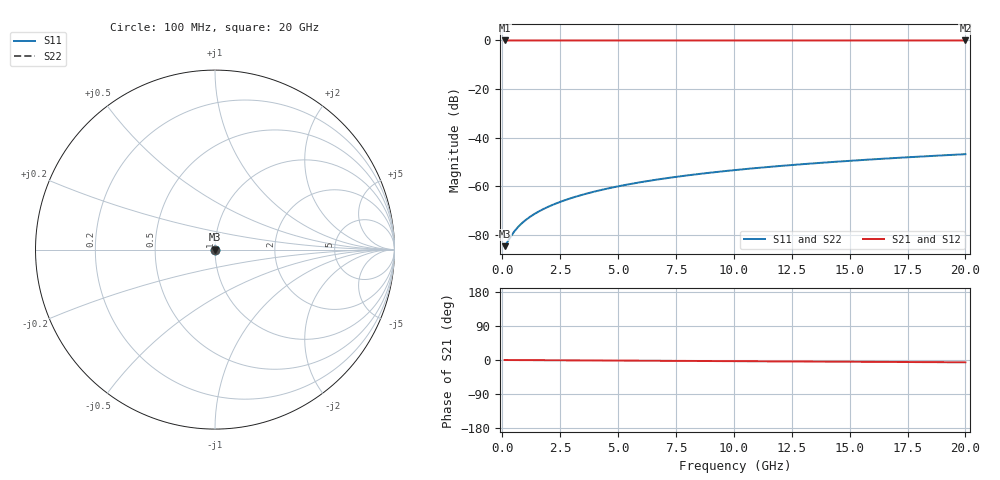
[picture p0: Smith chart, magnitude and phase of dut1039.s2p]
! Touchstone file exported from HFSS 2026.1.0
!  File:  C:/ffzhzh/LocalFiles/Ansys_Project_Files/temp_train_TSV_1039_1783189210_51560.aedt
!  Generated:  02:21:37 AM Jul  5, 2026
!  Design:  TSV
!  Project:  temp_train_TSV_1039_1783189210_51560
! Variables:
!  h_bsmrdl = 2um
!  h_ox = 20um
!  h_rdl = 5um
!  h_sub = 56.48um
!  h_tmrdl = 5um
!  h_tsv = 56.48um
!  h_via = 3um
!  l_bsmrdl = 300um
!  l_sub = 429.32um
!  l_tmrdl = 200um
!  m_sub = 200um
!  pitch = 55.35um
!  r_tsv = 14.66um
!  s_tmrdl = 10um
!  w_bsmrdl = 18um
!  w_sub = 500um
!  w_tmrdl = 12um
!  x_tsv_center1 = 206um
!  x_tsv_center2 = 524um
!  x_tsv_center3 = 736um
!  x_tsv_center4 = 1054um
!  x_tsv_center5 = 1266um
!  x_tsv_center6 = 1584um
# GHz S MA R 50.000000
! Terminal data exported
! Port[1] = TSV1_1_T1
! Port[2] = TSV1_1_T2
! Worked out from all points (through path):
!   200 points, 100 MHz to 20 GHz, reference 50 ohm
!   highest |S21| = 0.00 dB at 100 MHz (marker M1); lowest = 0.0 dB at 20 GHz (marker M2)
!   lowest |S11| = -84.6 dB at 100 MHz (marker M3), VSWR 1.00, Z = 50 + j0.000727 ohm
!   |S11| at or under -10 dB: start of sweep to end of sweep
!   |S22| runs from -84.6 to -46.8 dB; largest |S21 - S12| = 1e-15
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0.1  5.869e-05 7.1  0.9999 -0.0  0.9999 -0.0  5.869e-05 7.1
! Gamma 0 0 0 0
! Port Impedance 50 0 50 0
0.4  9.836e-05 4.6  0.9999 -0.1  0.9999 -0.1  9.836e-05 4.6
0.6  0.0001317 -6.1  0.9999 -0.2  0.9999 -0.2  0.0001317 -6.1
0.7  0.0001488 -11.6  0.9999 -0.2  0.9999 -0.2  0.0001488 -11.6
0.9  0.0001834 -21.3  0.9998 -0.3  0.9998 -0.3  0.0001834 -21.3
1.1  0.0002185 -29.3  0.9998 -0.3  0.9998 -0.3  0.0002185 -29.3
1.3  0.000254 -35.9  0.9998 -0.4  0.9998 -0.4  0.000254 -35.9
1.7  0.0003268 -45.4  0.9998 -0.5  0.9998 -0.5  0.0003268 -45.4
2.1  0.0004016 -51.9  0.9997 -0.7  0.9997 -0.7  0.0004016 -51.9
2.5  0.0004784 -56.6  0.9997 -0.8  0.9997 -0.8  0.0004784 -56.6
3  0.0005773 -60.8  0.9997 -0.9  0.9997 -0.9  0.0005773 -60.8
3.5  0.0006789 -63.8  0.9997 -1.1  0.9997 -1.1  0.0006789 -63.8
4.2  0.0008256 -67.0  0.9997 -1.3  0.9997 -1.3  0.0008256 -67.0
5  0.0009985 -69.7  0.9996 -1.5  0.9996 -1.5  0.0009985 -69.7
5.9  0.001198 -72.0  0.9996 -1.8  0.9996 -1.8  0.001198 -72.0
6.8  0.001402 -73.9  0.9996 -2.1  0.9996 -2.1  0.001402 -73.9
8.3  0.001748 -76.5  0.9995 -2.5  0.9995 -2.5  0.001748 -76.5
10.1  0.00217 -78.9  0.9995 -3.1  0.9995 -3.1  0.00217 -78.9
11.7  0.00255 -80.7  0.9994 -3.6  0.9994 -3.6  0.00255 -80.7
13.4  0.002956 -82.2  0.9994 -4.1  0.9994 -4.1  0.002956 -82.2
16.7  0.003757 -84.7  0.9993 -5.1  0.9993 -5.1  0.003757 -84.7
20  0.004577 -86.7  0.9992 -6.1  0.9992 -6.1  0.004577 -86.7
